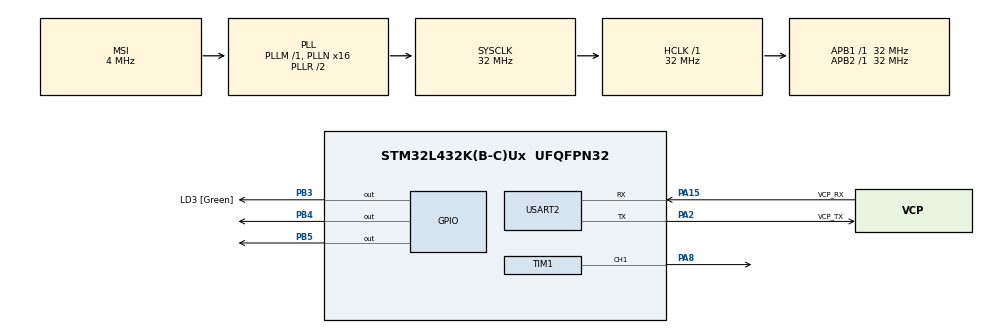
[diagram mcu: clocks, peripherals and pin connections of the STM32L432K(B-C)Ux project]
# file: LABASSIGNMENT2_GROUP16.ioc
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Mcu.Family=STM32L4
Mcu.Name=STM32L432K(B-C)Ux
Mcu.Package=UFQFPN32
NVIC.PriorityGroup=NVIC_PRIORITYGROUP_4
PA0.GPIO_Label=MCO [High speed clock in]
PA0.Mode=HSE-External-Clock-Source-for-LittleOrca
PA0.Signal=RCC_CK_IN
PA13\ (JTMS-SWDIO).GPIO_Label=SWDIO
PA13\ (JTMS-SWDIO).Mode=Serial_Wire
PA13\ (JTMS-SWDIO).Signal=SYS_JTMS-SWDIO
PA14\ (JTCK-SWCLK).GPIO_Label=SWCLK
PA14\ (JTCK-SWCLK).Mode=Serial_Wire
PA14\ (JTCK-SWCLK).Signal=SYS_JTCK-SWCLK
PA15\ (JTDI).GPIO_Label=VCP_RX
PA15\ (JTDI).Mode=Asynchronous
PA15\ (JTDI).Signal=USART2_RX
PA2.GPIO_Label=VCP_TX
PA2.Mode=Asynchronous
PA2.Signal=USART2_TX
PA8.Signal=S_TIM1_CH1
PB3\ (JTDO-TRACESWO).GPIO_Label=LD3 [Green]
PB3\ (JTDO-TRACESWO).Signal=GPIO_Output
PB4\ (NJTRST).Signal=GPIO_Output
PB5.Signal=GPIO_Output
PC14-OSC32_IN\ (PC14).Mode=LSE-External-Oscillator
PC14-OSC32_IN\ (PC14).Signal=RCC_OSC32_IN
PC15-OSC32_OUT\ (PC15).Mode=LSE-External-Oscillator
PC15-OSC32_OUT\ (PC15).Signal=RCC_OSC32_OUT
ProjectManager.HeapSize=0x200
ProjectManager.StackSize=0x400
ProjectManager.TargetToolchain=STM32CubeIDE
RCC.AHBFreq_Value=32000000
RCC.APB1Freq_Value=32000000
RCC.APB1TimFreq_Value=32000000
RCC.APB2Freq_Value=32000000
RCC.APB2TimFreq_Value=32000000
RCC.CortexFreq_Value=32000000
RCC.HCLKFreq_Value=32000000
RCC.HSE_VALUE=8000000
RCC.HSI16_VALUE=16000000
RCC.HSI48_VALUE=48000000
RCC.HSI_VALUE=16000000
RCC.MSI_VALUE=4000000
RCC.PLLMUL=RCC_PLLMUL_4
RCC.PLLN=16
RCC.SYSCLKFreq_VALUE=32000000
RCC.SYSCLKSource=RCC_SYSCLKSOURCE_PLLCLK
RCC.VCOOutputFreq_Value=64000000
SH.S_TIM1_CH1.0=TIM1_CH1,PWM Generation1 CH1
TIM1.Channel-PWM\ Generation1\ CH1=TIM_CHANNEL_1
TIM1.Period=16000
TIM1.Pulse-PWM\ Generation1\ CH1=8000
USART2.VirtualMode-Asynchronous=VM_ASYNC
board=NUCLEO-L432KC

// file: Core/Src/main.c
/* USER CODE BEGIN Header */
/**
  ******************************************************************************
  * @file           : main.c
  * @brief          : Main program body
  ******************************************************************************
  * @attention
  *
  * <h2><center>&copy; Copyright (c) 2021 STMicroelectronics.
  * All rights reserved.</center></h2>
  *
  * This software component is licensed by ST under BSD 3-Clause license,
  * the "License"; You may not use this file except in compliance with the
  * License. You may obtain a copy of the License at:
  *                        opensource.org/licenses/BSD-3-Clause
  *
  ******************************************************************************
  */
/* USER CODE END Header */
#include "main.h"
#include<stdio.h>

TIM_HandleTypeDef htim1;

UART_HandleTypeDef huart2;

void SystemClock_Config(void);
static void MX_GPIO_Init(void);
static void MX_USART2_UART_Init(void);
static void MX_TIM1_Init(void);
/* USER CODE BEGIN PFP */
int askuser( );
void glowgreenled (GPIO_TypeDef*GPIOx,uint16_t GPIO_Pinx,int time);
void glowredled (GPIO_TypeDef*GPIOx,uint16_t GPIO_Pinx,int time);
void switchalaram( unsigned freS,unsigned freE);
unsigned int  counterperiodvalue(unsigned int f );
void accesscodecheck ( unsigned  masterkey);
/* USER CODE END PFP */

/* USER CODE BEGIN 0 */
unsigned int key;
/* USER CODE END 0 */

int main(void)
{

  /* MCU Configuration--------------------------------------------------------*/

  /* Reset of all peripherals, Initializes the Flash interface and the Systick. */
  HAL_Init();

  /* Configure the system clock */
  SystemClock_Config();

  /* Initialize all configured peripherals */
  MX_GPIO_Init();
  MX_USART2_UART_Init();
  MX_TIM1_Init();

  /* Infinite loop */
  /* USER CODE BEGIN WHILE */
  while (1)
  {
	  unsigned int masterkey;
    /* USER CODE END WHILE */

    /* USER CODE BEGIN 3 */
	  masterkey=askuser( );
	  accesscodecheck( masterkey );
  }
  /* USER CODE END 3 */
}

void SystemClock_Config(void)
{
  RCC_OscInitTypeDef RCC_OscInitStruct = {0};
  RCC_ClkInitTypeDef RCC_ClkInitStruct = {0};

  /** Configure the main internal regulator output voltage
  */
  if (HAL_PWREx_ControlVoltageScaling(PWR_REGULATOR_VOLTAGE_SCALE1) != HAL_OK)
  {
    Error_Handler();
  }
  /** Configure LSE Drive Capability
  */
  HAL_PWR_EnableBkUpAccess();
  __HAL_RCC_LSEDRIVE_CONFIG(RCC_LSEDRIVE_LOW);
  /** Initializes the RCC Oscillators according to the specified parameters
  * in the RCC_OscInitTypeDef structure.
  */
  RCC_OscInitStruct.OscillatorType = RCC_OSCILLATORTYPE_LSE|RCC_OSCILLATORTYPE_MSI;
  RCC_OscInitStruct.LSEState = RCC_LSE_ON;
  RCC_OscInitStruct.MSIState = RCC_MSI_ON;
  RCC_OscInitStruct.MSICalibrationValue = 0;
  RCC_OscInitStruct.MSIClockRange = RCC_MSIRANGE_6;
  RCC_OscInitStruct.PLL.PLLState = RCC_PLL_ON;
  RCC_OscInitStruct.PLL.PLLSource = RCC_PLLSOURCE_MSI;
  RCC_OscInitStruct.PLL.PLLM = 1;
  RCC_OscInitStruct.PLL.PLLN = 16;
  RCC_OscInitStruct.PLL.PLLP = RCC_PLLP_DIV7;
  RCC_OscInitStruct.PLL.PLLQ = RCC_PLLQ_DIV2;
  RCC_OscInitStruct.PLL.PLLR = RCC_PLLR_DIV2;
  if (HAL_RCC_OscConfig(&RCC_OscInitStruct) != HAL_OK)
  {
    Error_Handler();
  }
  /** Initializes the CPU, AHB and APB buses clocks
  */
  RCC_ClkInitStruct.ClockType = RCC_CLOCKTYPE_HCLK|RCC_CLOCKTYPE_SYSCLK
                              |RCC_CLOCKTYPE_PCLK1|RCC_CLOCKTYPE_PCLK2;
  RCC_ClkInitStruct.SYSCLKSource = RCC_SYSCLKSOURCE_PLLCLK;
  RCC_ClkInitStruct.AHBCLKDivider = RCC_SYSCLK_DIV1;
  RCC_ClkInitStruct.APB1CLKDivider = RCC_HCLK_DIV1;
  RCC_ClkInitStruct.APB2CLKDivider = RCC_HCLK_DIV1;

  if (HAL_RCC_ClockConfig(&RCC_ClkInitStruct, FLASH_LATENCY_1) != HAL_OK)
  {
    Error_Handler();
  }
  /** Enable MSI Auto calibration
  */
  HAL_RCCEx_EnableMSIPLLMode();
}

static void MX_TIM1_Init(void)
{

  TIM_MasterConfigTypeDef sMasterConfig = {0};
  TIM_OC_InitTypeDef sConfigOC = {0};
  TIM_BreakDeadTimeConfigTypeDef sBreakDeadTimeConfig = {0};

  htim1.Instance = TIM1;
  htim1.Init.Prescaler = 0;
  htim1.Init.CounterMode = TIM_COUNTERMODE_UP;
  htim1.Init.Period = 16000;
  htim1.Init.ClockDivision = TIM_CLOCKDIVISION_DIV1;
  htim1.Init.RepetitionCounter = 0;
  htim1.Init.AutoReloadPreload = TIM_AUTORELOAD_PRELOAD_DISABLE;
  if (HAL_TIM_PWM_Init(&htim1) != HAL_OK)
  {
    Error_Handler();
  }
  sMasterConfig.MasterOutputTrigger = TIM_TRGO_RESET;
  sMasterConfig.MasterOutputTrigger2 = TIM_TRGO2_RESET;
  sMasterConfig.MasterSlaveMode = TIM_MASTERSLAVEMODE_DISABLE;
  if (HAL_TIMEx_MasterConfigSynchronization(&htim1, &sMasterConfig) != HAL_OK)
  {
    Error_Handler();
  }
  sConfigOC.OCMode = TIM_OCMODE_PWM1;
  sConfigOC.Pulse = 8000;
  sConfigOC.OCPolarity = TIM_OCPOLARITY_HIGH;
  sConfigOC.OCNPolarity = TIM_OCNPOLARITY_HIGH;
  sConfigOC.OCFastMode = TIM_OCFAST_DISABLE;
  sConfigOC.OCIdleState = TIM_OCIDLESTATE_RESET;
  sConfigOC.OCNIdleState = TIM_OCNIDLESTATE_RESET;
  if (HAL_TIM_PWM_ConfigChannel(&htim1, &sConfigOC, TIM_CHANNEL_1) != HAL_OK)
  {
    Error_Handler();
  }
  sBreakDeadTimeConfig.OffStateRunMode = TIM_OSSR_DISABLE;
  sBreakDeadTimeConfig.OffStateIDLEMode = TIM_OSSI_DISABLE;
  sBreakDeadTimeConfig.LockLevel = TIM_LOCKLEVEL_OFF;
  sBreakDeadTimeConfig.DeadTime = 0;
  sBreakDeadTimeConfig.BreakState = TIM_BREAK_DISABLE;
  sBreakDeadTimeConfig.BreakPolarity = TIM_BREAKPOLARITY_HIGH;
  sBreakDeadTimeConfig.BreakFilter = 0;
  sBreakDeadTimeConfig.Break2State = TIM_BREAK2_DISABLE;
  sBreakDeadTimeConfig.Break2Polarity = TIM_BREAK2POLARITY_HIGH;
  sBreakDeadTimeConfig.Break2Filter = 0;
  sBreakDeadTimeConfig.AutomaticOutput = TIM_AUTOMATICOUTPUT_DISABLE;
  if (HAL_TIMEx_ConfigBreakDeadTime(&htim1, &sBreakDeadTimeConfig) != HAL_OK)
  {
    Error_Handler();
  }
  HAL_TIM_MspPostInit(&htim1);

}

static void MX_USART2_UART_Init(void)
{

  huart2.Instance = USART2;
  huart2.Init.BaudRate = 115200;
  huart2.Init.WordLength = UART_WORDLENGTH_8B;
  huart2.Init.StopBits = UART_STOPBITS_1;
  huart2.Init.Parity = UART_PARITY_NONE;
  huart2.Init.Mode = UART_MODE_TX_RX;
  huart2.Init.HwFlowCtl = UART_HWCONTROL_NONE;
  huart2.Init.OverSampling = UART_OVERSAMPLING_16;
  huart2.Init.OneBitSampling = UART_ONE_BIT_SAMPLE_DISABLE;
  huart2.AdvancedInit.AdvFeatureInit = UART_ADVFEATURE_NO_INIT;
  if (HAL_UART_Init(&huart2) != HAL_OK)
  {
    Error_Handler();
  }

}

static void MX_GPIO_Init(void)
{
  GPIO_InitTypeDef GPIO_InitStruct = {0};

  /* GPIO Ports Clock Enable */
  __HAL_RCC_GPIOC_CLK_ENABLE();
  __HAL_RCC_GPIOA_CLK_ENABLE();
  __HAL_RCC_GPIOB_CLK_ENABLE();

  /*Configure GPIO pin Output Level */
  HAL_GPIO_WritePin(GPIOB, LD3_Pin|GPIO_PIN_4|GPIO_PIN_5, GPIO_PIN_RESET);

  /*Configure GPIO pins : LD3_Pin PB4 PB5 */
  GPIO_InitStruct.Pin = LD3_Pin|GPIO_PIN_4|GPIO_PIN_5;
  GPIO_InitStruct.Mode = GPIO_MODE_OUTPUT_PP;
  GPIO_InitStruct.Pull = GPIO_NOPULL;
  GPIO_InitStruct.Speed = GPIO_SPEED_FREQ_LOW;
  HAL_GPIO_Init(GPIOB, &GPIO_InitStruct);

}

/* USER CODE BEGIN 4 */

int askuser( )
 {
	 printf("enter the  required passcode to alllow you in\n\r ");
	 scanf("%u",&key);
	 printf("check the passcode which you entered=%u\r\n",key);

	 return key;
 }

void accesscodecheck ( unsigned  masterkey)
{
	int i;
	int codes[10]={1210,1282,2283,5432,2345,9999,7777,6789,9876,2468};
     for(i=0;i<10;i++)
     {

    	 if(codes[i]==masterkey)
    	 {
    		 printf("Acess Granted\n\r ");
       	     glowgreenled(GPIOB,GPIO_PIN_4,1000);// passing arguments in function call
       	    // switchalaram(1500,2500);
       	     HAL_Delay(5000);

    	     return;
    	    // switchongrantalaram(3,10);

    		// HAL_Delay(100);

    		// switchtonedenyalaram( );
    	 }

    	 }
     	 printf("Access Denied \n\r");
     	 HAL_GPIO_WritePin(GPIOB, GPIO_PIN_5, SET);
     	// glowredled(GPIOB,GPIO_PIN_5,1000);
         switchalaram(1000,3000);
         HAL_Delay(5000);
         HAL_GPIO_WritePin(GPIOB, GPIO_PIN_5, RESET);

}

void glowgreenled (GPIO_TypeDef*GPIOx,uint16_t GPIO_Pinx,int time)// INDICATES WITH RED LIGHT
{

	    HAL_GPIO_WritePin(GPIOx, GPIO_Pinx, SET);
	    switchalaram(1500,3500);
		HAL_Delay(time);
		HAL_GPIO_WritePin(GPIOx, GPIO_Pinx,RESET);
}

void glowredled (GPIO_TypeDef*GPIOx,uint16_t GPIO_Pinx,int time)// INDICATES WITH RED LIGHT
		{

			    HAL_GPIO_WritePin(GPIOx, GPIO_Pinx, SET);
			    switchalaram(1000,3000);
				HAL_Delay(time);
				HAL_GPIO_WritePin(GPIOx, GPIO_Pinx,RESET);

		}

void switchalaram( unsigned freS,unsigned freE)
	{
	   for(unsigned short i =freS; i<=freE; i=i+1000)
		 {
		   htim1.Init.Period = counterperiodvalue(i);
		 if (HAL_TIM_PWM_Init(&htim1) != HAL_OK)
		  {
		    Error_Handler();
		  }
		 HAL_TIM_PWM_Start(&htim1,TIM_CHANNEL_1);
	     HAL_Delay(500);
	     HAL_TIM_PWM_Stop(&htim1,TIM_CHANNEL_1);
	     HAL_Delay(500);
		}
	}

	unsigned int  counterperiodvalue(unsigned int f )
	{
		unsigned int c1;
		c1=(unsigned)(32000000/f);
		c1=c1-1;
		return c1;

	}

/* USER CODE END 4 */

void Error_Handler(void)
{
  __disable_irq();
  while (1)
  {
  }
}

/************************ (C) COPYRIGHT STMicroelectronics *****END OF FILE****/
